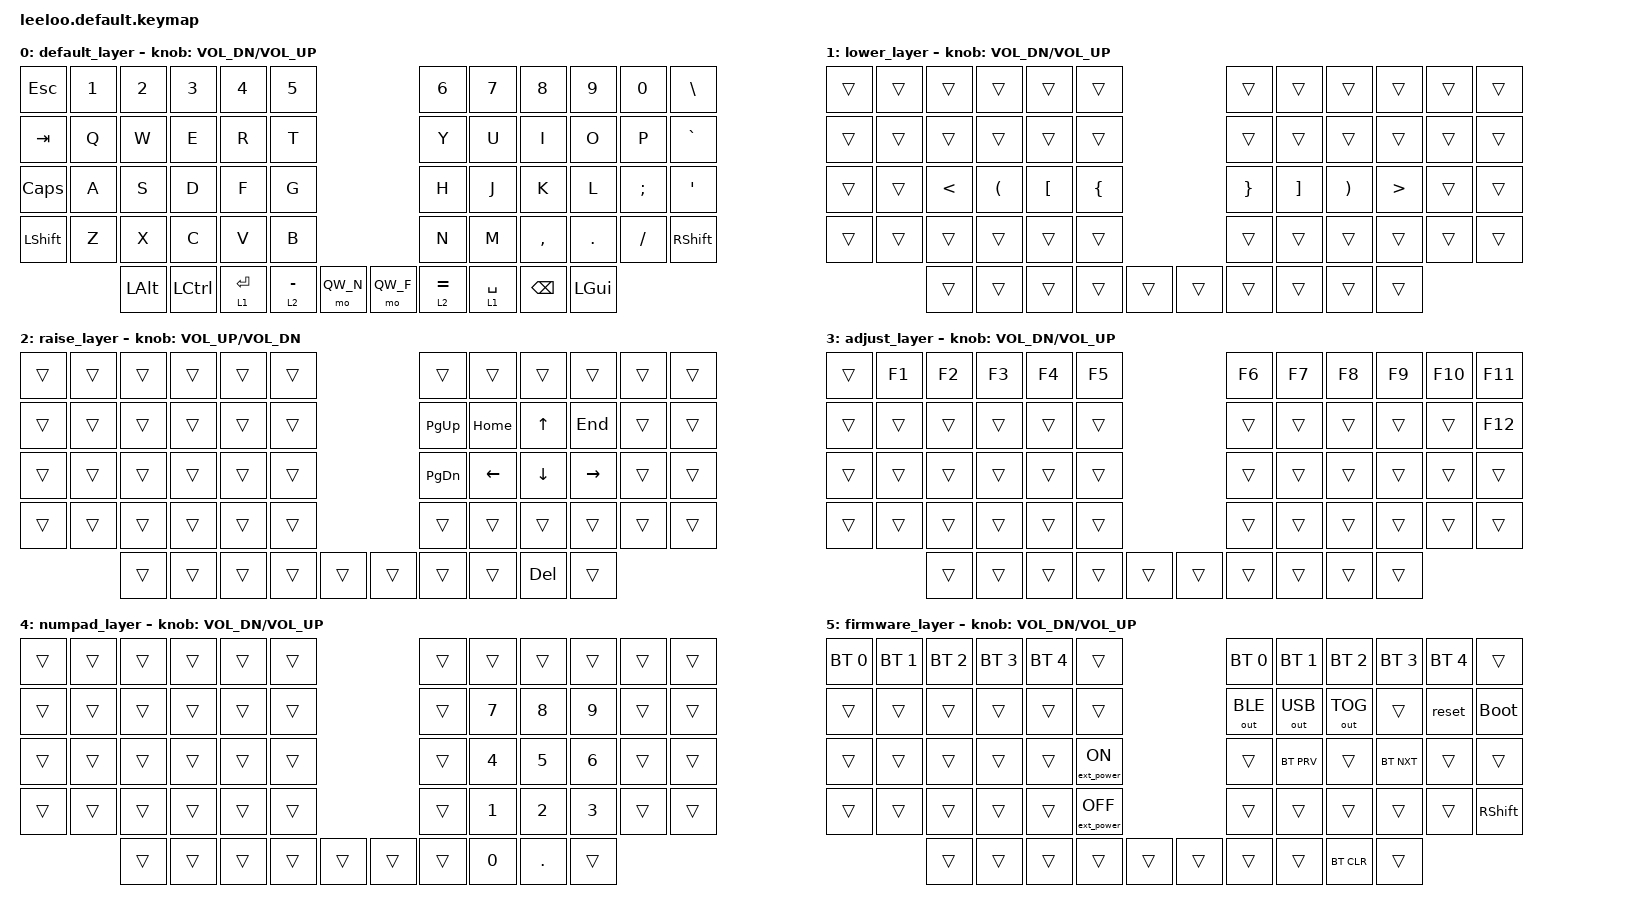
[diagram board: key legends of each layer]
/*
 * Copyright (c) 2020 The ZMK Contributors
 *
 * SPDX-License-Identifier: MIT
 */
#include <behaviors.dtsi>
#include <dt-bindings/zmk/outputs.h>
#include <dt-bindings/zmk/keys.h>
#include <dt-bindings/zmk/bt.h>
#include <dt-bindings/zmk/ext_power.h>

// Layers
#define QW_M    0       // Main
#define QW_L    1       // Lower
#define QW_R    2       // Raise
#define QW_A    3       // Adjust
#define QW_N    4       // Number Pad
#define QW_F    5       // Firmware

/ {
    conditional_layers {
        compatible = "zmk,conditional-layers";
        adjust_layer {
            if-layers = <1 2>;
            then-layer = <3>;
        };
    };

    keymap {
        compatible = "zmk,keymap";

        default_layer {
            bindings = <
&kp ESC    &kp N1     &kp N2     &kp N3     &kp N4     &kp N5                           &kp N6     &kp N7     &kp N8     &kp N9     &kp N0     &kp BSLH
&kp TAB    &kp Q      &kp W      &kp E      &kp R      &kp T                            &kp Y      &kp U      &kp I      &kp O      &kp P      &kp GRAV
&kp CAPS   &kp A      &kp S      &kp D      &kp F      &kp G                            &kp H      &kp J      &kp K      &kp L      &kp SEMI   &kp SQT
&kp LSHFT  &kp Z      &kp X      &kp C      &kp V      &kp B                            &kp N      &kp M      &kp COMMA  &kp DOT    &kp FSLH   &kp RSHFT
                    &kp LALT   &kp LCTRL  &lt 1 RET    &lt 2 MINUS  &mo QW_N    &mo QW_F  &lt 2 EQUAL &lt 1 SPACE  &kp BSPC   &kp LGUI
            >;

            sensor-bindings = <&inc_dec_kp C_VOL_DN C_VOL_UP>;
        };

        lower_layer {
            bindings = <
&trans     &trans     &trans     &trans     &trans     &trans                           &trans     &trans     &trans     &trans     &trans     &trans
&trans     &trans     &trans     &trans     &trans     &trans                           &trans     &trans     &trans     &trans     &trans     &trans
&trans     &trans     &kp LT     &kp LPAR   &kp LBKT   &kp LBRC                         &kp RBRC   &kp RBKT   &kp RPAR   &kp GT     &trans     &trans
&trans     &trans     &trans     &trans     &trans     &trans                           &trans     &trans     &trans     &trans     &trans     &trans
                      &trans     &trans     &trans     &trans     &trans      &trans    &trans     &trans     &trans     &trans
            >;

            sensor-bindings = <&inc_dec_kp C_VOL_DN C_VOL_UP>;
        };

        raise_layer {
            bindings = <
&trans     &trans     &trans     &trans     &trans     &trans                           &trans     &trans     &trans     &trans     &trans     &trans
&trans     &trans     &trans     &trans     &trans     &trans                           &kp PG_UP  &kp HOME   &kp UP     &kp END    &trans     &trans
&trans     &trans     &trans     &trans     &trans     &trans                           &kp PG_DN  &kp LEFT   &kp DOWN   &kp RIGHT  &trans     &trans
&trans     &trans     &trans     &trans     &trans     &trans                           &trans     &trans     &trans     &trans     &trans     &trans
                      &trans     &trans     &trans     &trans     &trans      &trans    &trans     &trans     &kp DEL    &trans
            >;

            sensor-bindings = <&inc_dec_kp C_VOL_UP C_VOL_DN>;
        };

        adjust_layer {
            bindings = <
&trans     &kp F1     &kp F2     &kp F3     &kp F4     &kp F5                           &kp F6     &kp F7     &kp F8     &kp F9     &kp F10    &kp F11
&trans     &trans     &trans     &trans     &trans     &trans                           &trans     &trans     &trans     &trans     &trans     &kp F12
&trans     &trans     &trans     &trans     &trans     &trans                           &trans     &trans     &trans     &trans     &trans     &trans
&trans     &trans     &trans     &trans     &trans     &trans                           &trans     &trans     &trans     &trans     &trans     &trans
                      &trans     &trans     &trans     &trans     &trans      &trans    &trans     &trans     &trans     &trans
            >;

            sensor-bindings = <&inc_dec_kp C_VOL_DN C_VOL_UP>;
        };

        numpad_layer {
            bindings = <
&trans     &trans     &trans     &trans     &trans     &trans                           &trans     &trans     &trans     &trans     &trans     &trans
&trans     &trans     &trans     &trans     &trans     &trans                           &trans     &kp N7     &kp N8     &kp N9     &trans     &trans
&trans     &trans     &trans     &trans     &trans     &trans                           &trans     &kp N4     &kp N5     &kp N6     &trans     &trans
&trans     &trans     &trans     &trans     &trans     &trans                           &trans     &kp N1     &kp N2     &kp N3     &trans     &trans
                      &trans     &trans     &trans     &trans     &trans      &trans    &trans     &kp N0     &kp DOT    &trans
            >;

            sensor-bindings = <&inc_dec_kp C_VOL_DN C_VOL_UP>;
        };

        firmware_layer {
            bindings = <
&bt BT_SEL 0  &bt BT_SEL 1  &bt BT_SEL 2  &bt BT_SEL 3  &bt BT_SEL 4  &trans            &bt BT_SEL 0  &bt BT_SEL 1  &bt BT_SEL 2  &bt BT_SEL 3  &bt BT_SEL 4  &trans
&trans      &trans    &trans     &trans     &trans     &trans                           &out OUT_BLE &out OUT_USB &out OUT_TOG &trans     &reset     &bootloader
&trans      &trans    &trans     &trans     &trans     &ext_power EP_ON                 &trans       &bt BT_PRV   &trans       &bt BT_NXT &trans     &trans
&trans      &trans    &trans     &trans     &trans     &ext_power EP_OFF                &trans       &trans       &trans       &trans     &trans     &kp RSHFT
                      &trans     &trans     &trans     &trans     &trans      &trans    &trans       &trans       &bt BT_CLR   &trans
            >;

            sensor-bindings = <&inc_dec_kp C_VOL_DN C_VOL_UP>;
        };
    };
};
